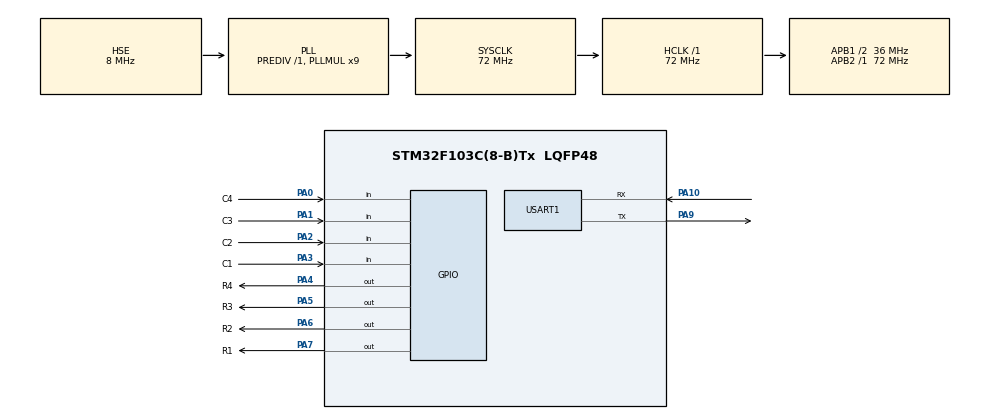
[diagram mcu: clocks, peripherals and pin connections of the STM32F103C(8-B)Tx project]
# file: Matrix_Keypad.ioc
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Mcu.Family=STM32F1
Mcu.Name=STM32F103C(8-B)Tx
Mcu.Package=LQFP48
NVIC.PriorityGroup=NVIC_PRIORITYGROUP_4
PA0-WKUP.GPIO_Label=C4
PA0-WKUP.GPIO_PuPd=GPIO_PULLUP
PA0-WKUP.Signal=GPIO_Input
PA1.GPIO_Label=C3
PA1.GPIO_PuPd=GPIO_PULLUP
PA1.Signal=GPIO_Input
PA10.Mode=Asynchronous
PA10.Signal=USART1_RX
PA13.Mode=Serial_Wire
PA13.Signal=SYS_JTMS-SWDIO
PA14.Mode=Serial_Wire
PA14.Signal=SYS_JTCK-SWCLK
PA2.GPIO_Label=C2
PA2.GPIO_PuPd=GPIO_PULLUP
PA2.Signal=GPIO_Input
PA3.GPIO_Label=C1
PA3.GPIO_PuPd=GPIO_PULLUP
PA3.Signal=GPIO_Input
PA4.GPIO_Label=R4
PA4.Signal=GPIO_Output
PA5.GPIO_Label=R3
PA5.Signal=GPIO_Output
PA6.GPIO_Label=R2
PA6.Signal=GPIO_Output
PA7.GPIO_Label=R1
PA7.Signal=GPIO_Output
PA9.Mode=Asynchronous
PA9.Signal=USART1_TX
PD0-OSC_IN.Mode=HSE-External-Oscillator
PD0-OSC_IN.Signal=RCC_OSC_IN
PD1-OSC_OUT.Mode=HSE-External-Oscillator
PD1-OSC_OUT.Signal=RCC_OSC_OUT
ProjectManager.HeapSize=0x200
ProjectManager.StackSize=0x400
ProjectManager.TargetToolchain=STM32CubeIDE
RCC.AHBFreq_Value=72000000
RCC.APB1CLKDivider=RCC_HCLK_DIV2
RCC.APB1Freq_Value=36000000
RCC.APB1TimFreq_Value=72000000
RCC.APB2Freq_Value=72000000
RCC.APB2TimFreq_Value=72000000
RCC.HCLKFreq_Value=72000000
RCC.PLLMUL=RCC_PLL_MUL9
RCC.PLLSourceVirtual=RCC_PLLSOURCE_HSE
RCC.SYSCLKFreq_VALUE=72000000
RCC.SYSCLKSource=RCC_SYSCLKSOURCE_PLLCLK
RCC.USBFreq_Value=72000000
USART1.VirtualMode=VM_ASYNC
board=custom

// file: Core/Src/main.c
/* USER CODE BEGIN Header */
/**
  ******************************************************************************
  * @file           : main.c
  * @brief          : Controlador de teclado matricial 4x4 con salida UART
  ******************************************************************************
  * @description
  * Este programa implementa un escáner de teclado matricial 4x4 para microcontroladores STM32.
  * Características:
  * - Antirrebote de hardware con retardo configurable
  * - Detección de pulsaciones de teclas con prevención de repetición
  * - Salida UART para la pantalla del terminal
  * - Borrado de la pantalla del terminal entre pulsaciones de teclas
  *
  * Configuración de hardware:
  * - Filas (R1-R4): Pines de salida configurados como push-pull
  * - Columnas (C1-C4): Pines de entrada con resistencias pull-up
  * - UART1: 115200 baudios, configuración 8N1
  *
  * Keypad Layout:
  *     C1   C2   C3   C4
  * R1  1    2    3    A
  * R2  4    5    6    B
  * R3  7    8    9    C
  * R4  *    0    #    D
  * @attention
  *
  * Copyright (c) 2025 STMicroelectronics.
  * All rights reserved.
  *
  * This software is licensed under terms that can be found in the LICENSE file
  * in the root directory of this software component.
  * If no LICENSE file comes with this software, it is provided AS-IS.
  *
  ******************************************************************************
  */
/* USER CODE END Header */
#include "main.h"

#include "stdio.h"
#include "string.h"
/* USER CODE END Includes */

/* USER CODE BEGIN PD */

// Configuración del tiempo de debounce (en milisegundos)
#define DEBOUNCE_TIME       50      // Tiempo mínimo entre lecturas de teclas
#define KEY_REPEAT_TIME     200     // Tiempo antes de permitir la repetición de la misma tecla
#define KEY_RELEASE_TIME    500     // Tiempo de espera antes de borrar la última tecla

/* USER CODE END PD */

UART_HandleTypeDef huart1;

/* USER CODE BEGIN PV */
// Variables de seguimiento del estado del teclado
static uint32_t lastKeyTime = 0;  // Marca de tiempo de la última pulsación de tecla válida
static char lastKey = 0;          // Última tecla presionada
static uint8_t keyReleased = 1;   // Bandera para rastrear si se soltó la tecla

// Variables de búfer para la transmisión UART
char pressedKey;      // Tecla actual
char keyPressed;      // Valor de tecla para ser transmitida
char buffer[10];      // Búfer para formateo de sprintf

// Secuencias de escape ANSI para control del terminal
//uint8_t cls[] = "\e[1;1H\e[2J";   // Mueve el cursos a (1,1) y limpia la pantalla
uint8_t clearLine[] = "\r\033[K";        // Retorno de carro + borrar hasta el final de la línea
uint8_t homeCursor[] = "\r";             // Solo retorno de carro (vuelve al inicio de línea)
uint8_t showPrompt[] = "KEY = ";         // Prompt fijo
/* USER CODE END PV */

void SystemClock_Config(void);
static void MX_GPIO_Init(void);
static void MX_USART1_UART_Init(void);
/* USER CODE BEGIN PFP */

/**
 * @brief Escanea el teclado de matriz 4x4 y devuelve la tecla presionada
 * @retval char: carácter ASCII de la tecla presionada, o 0 si no se presionó ninguna tecla
 */
char Read_Keypad(void);
/* USER CODE END PFP */

int main(void)
{

  /* MCU Configuration--------------------------------------------------------*/

  /* Reset of all peripherals, Initializes the Flash interface and the Systick. */
  HAL_Init();

  /* Configure the system clock */
  SystemClock_Config();

  /* Initialize all configured peripherals */
  MX_GPIO_Init();
  MX_USART1_UART_Init();
  /* USER CODE BEGIN 2 */

  // Enviar prompt inicial
  HAL_UART_Transmit(&huart1, (uint8_t*)showPrompt, strlen(showPrompt), 1000);

  /* USER CODE END 2 */

  /* Infinite loop */
  /* USER CODE BEGIN WHILE */
  while (1)
  {
    // Escanea la matriz del teclado para detectar pulsaciones de teclas
	keyPressed = Read_Keypad();

    // Transmitir solo si se detectó una tecla válida (retorno distinto de cero)
    if(keyPressed != 0)
    {
    	// Borrar la línea actual y mostrar la nueva tecla
		HAL_UART_Transmit(&huart1, clearLine, strlen((char*)clearLine), 1000);

		// Mostrar el prompt con la tecla presionada
		sprintf(buffer, "KEY = %c", keyPressed);

		// Limpiar la pantalla del terminal usando la secuencia de escape ANSI
		HAL_UART_Transmit(&huart1, (uint8_t*)buffer, strlen(buffer), 1000);
    }else
    {
    	// Cuando no hay tecla, mantener solo el prompt visible
		// Esto se hace automáticamente ya que no borramos la pantalla completa
		// Solo actualizamos si es necesario mantener consistencia
    	static uint32_t lastNoKeyTime = 0;
		uint32_t currentTime = HAL_GetTick();

		// Actualizar el prompt vacío periódicamente (cada 2 segundos) para mantenerlo visible
		if ((currentTime - lastNoKeyTime) > 2000)
		{
			HAL_UART_Transmit(&huart1, homeCursor, strlen((char*)homeCursor), 1000);
			HAL_UART_Transmit(&huart1, showPrompt, strlen((char*)showPrompt), 1000);
			lastNoKeyTime = currentTime;
		}
    }

    // Pequeña pausa para evitar uso excesivo de CPU
	HAL_Delay(10);
    /* USER CODE END WHILE */

  }
}

void SystemClock_Config(void)
{
  RCC_OscInitTypeDef RCC_OscInitStruct = {0};
  RCC_ClkInitTypeDef RCC_ClkInitStruct = {0};

  /** Initializes the RCC Oscillators according to the specified parameters
  * in the RCC_OscInitTypeDef structure.
  */
  RCC_OscInitStruct.OscillatorType = RCC_OSCILLATORTYPE_HSE;
  RCC_OscInitStruct.HSEState = RCC_HSE_ON;
  RCC_OscInitStruct.HSEPredivValue = RCC_HSE_PREDIV_DIV1;
  RCC_OscInitStruct.HSIState = RCC_HSI_ON;
  RCC_OscInitStruct.PLL.PLLState = RCC_PLL_ON;
  RCC_OscInitStruct.PLL.PLLSource = RCC_PLLSOURCE_HSE;
  RCC_OscInitStruct.PLL.PLLMUL = RCC_PLL_MUL9;
  if (HAL_RCC_OscConfig(&RCC_OscInitStruct) != HAL_OK)
  {
    Error_Handler();
  }

  /** Initializes the CPU, AHB and APB buses clocks
  */
  RCC_ClkInitStruct.ClockType = RCC_CLOCKTYPE_HCLK|RCC_CLOCKTYPE_SYSCLK
                              |RCC_CLOCKTYPE_PCLK1|RCC_CLOCKTYPE_PCLK2;
  RCC_ClkInitStruct.SYSCLKSource = RCC_SYSCLKSOURCE_PLLCLK;
  RCC_ClkInitStruct.AHBCLKDivider = RCC_SYSCLK_DIV1;
  RCC_ClkInitStruct.APB1CLKDivider = RCC_HCLK_DIV2;
  RCC_ClkInitStruct.APB2CLKDivider = RCC_HCLK_DIV1;

  if (HAL_RCC_ClockConfig(&RCC_ClkInitStruct, FLASH_LATENCY_2) != HAL_OK)
  {
    Error_Handler();
  }
}

static void MX_USART1_UART_Init(void)
{

  huart1.Instance = USART1;
  huart1.Init.BaudRate = 115200;
  huart1.Init.WordLength = UART_WORDLENGTH_8B;
  huart1.Init.StopBits = UART_STOPBITS_1;
  huart1.Init.Parity = UART_PARITY_NONE;
  huart1.Init.Mode = UART_MODE_TX_RX;
  huart1.Init.HwFlowCtl = UART_HWCONTROL_NONE;
  huart1.Init.OverSampling = UART_OVERSAMPLING_16;
  if (HAL_UART_Init(&huart1) != HAL_OK)
  {
    Error_Handler();
  }

}

static void MX_GPIO_Init(void)
{
  GPIO_InitTypeDef GPIO_InitStruct = {0};

  /* GPIO Ports Clock Enable */
  __HAL_RCC_GPIOD_CLK_ENABLE();
  __HAL_RCC_GPIOA_CLK_ENABLE();

  /*Configure GPIO pin Output Level */
  HAL_GPIO_WritePin(GPIOA, R4_Pin|R3_Pin|R2_Pin|R1_Pin, GPIO_PIN_RESET);

  /*Configure GPIO pins : C4_Pin C3_Pin C2_Pin C1_Pin */
  GPIO_InitStruct.Pin = C4_Pin|C3_Pin|C2_Pin|C1_Pin;
  GPIO_InitStruct.Mode = GPIO_MODE_INPUT;
  GPIO_InitStruct.Pull = GPIO_PULLUP;
  HAL_GPIO_Init(GPIOA, &GPIO_InitStruct);

  /*Configure GPIO pins : R4_Pin R3_Pin R2_Pin R1_Pin */
  GPIO_InitStruct.Pin = R4_Pin|R3_Pin|R2_Pin|R1_Pin;
  GPIO_InitStruct.Mode = GPIO_MODE_OUTPUT_PP;
  GPIO_InitStruct.Pull = GPIO_NOPULL;
  GPIO_InitStruct.Speed = GPIO_SPEED_FREQ_LOW;
  HAL_GPIO_Init(GPIOA, &GPIO_InitStruct);

}

/* USER CODE BEGIN 4 */
/**
 * @brief Escanea el teclado matricial 4x4 para detectar pulsaciones de teclas
 * @details Algoritmo de escaneo
 *          1. Configura todas las filas en HIGH
 *          2. Para cada fila
 *            a) Configura la fila actual en LOW
 *            b) Lee tolas las columnas
 *            c) Si la columna es LOW, la tecla presionada es [fila][columna]
 *            d) Restaura las filas en HIGH
 *          3. Implementa la eliminación de rebotes y la prevención de repetición
 *
 * @note El escaneo del teclado funciona así:
 *          - Poner una fila en LOW a la vez
 *          - Leer los pines de columna (con pull-ups)
 *          - Cuando se pulsa una tecla, conecta la fila con la columna
 *          - El LOW de la fila se propaga a la columna
 *          - Esto crea una lectura LOW en el pin de la columna
 *
 * @retval char: carácter ASCII de la tecla presionada, o 0 si no se presionó ninguna tecla
 */
char Read_Keypad(void)
{
  // Keypad character mapping
	char keyMap[4][4] =
	{
		{'1', '2', '3', 'A'}, // Fila 1
		{'4', '5', '6', 'B'}, // Fila 2
		{'7', '8', '9', 'C'}, // FIla 3
		{'*', '0', '#', 'D'}  // Fila 4
	};

  // Definiciones de puerto GPIO para cada fila
	GPIO_TypeDef* rowPorts[4] = {
    R1_GPIO_Port,
    R2_GPIO_Port,
    R3_GPIO_Port,
    R4_GPIO_Port
  };

  // Definiciones de pines GPIO paracada fila
	uint16_t rowPins[4] = {
    R1_Pin,
    R2_Pin,
    R3_Pin,
    R4_Pin
  };

  // Definiciones de puerto GPIO para cada columna
	GPIO_TypeDef* colPorts[4] ={
    C1_GPIO_Port,
    C2_GPIO_Port,
    C3_GPIO_Port,
    C4_GPIO_Port
  };

  // Definiciones de pines GPIO paracada columna
	uint16_t colPins[4] = {
    C1_Pin,
    C2_Pin,
    C3_Pin,
    C4_Pin
  };

	// Obtener la lectura del tiempo transcurrido
	uint32_t currentTime = HAL_GetTick();

  // COMPROBACIÓN DE REBOTES: Evitar lecturas demasiado frecuentes
  // Si no ha transcurrido suficiente tiempo desde la última lectura, volver inmediatamente
	if ((currentTime - lastKeyTime) < DEBOUNCE_TIME)
	{
		return 0;  // No leer si no ha pasado el tiempo de debounce
	}

  // INICIALIZACIÓN: Configura todos las filas en HIGH antes de escanear
  // Esto asegura empezar en un estadi conocido
	for(int i = 0; i < 4; i++)
	{
		HAL_GPIO_WritePin(rowPorts[i], rowPins[i], GPIO_PIN_SET);
	}

	// CICLO DE ESCANEO PRINCIPAL: Verifica cada fila secuencialmente
	for(int row = 0; row < 4; row++)
	{
		// PASO 1: Activar fila actual (LOW)
		HAL_GPIO_WritePin(rowPorts[row], rowPins[row], GPIO_PIN_RESET);

		// PASO 2: Pequeño delay para permitir que la señal se estabilice
    // Esto evita lecturas falsas debido a transitorios de conmutación GPIO
		HAL_Delay(1);

    // PASO 3: Lee todas las columnas por fila
		for(int col = 0; col < 4; col++)
		{
      // Comprobar si la columna está en LOW (la tecla presionada conecta la fila a la columna)
			if(HAL_GPIO_ReadPin(colPorts[col], colPins[col]) == GPIO_PIN_RESET)
			{
        // Tecla detectada en la posición [fila][columna]
				pressedKey = keyMap[row][col];

        // LÓGICA DE PREVENCIÓN DE REPETICIÓN DE TECLAS:
        // Permitir la misma pulsación de tecla solo si:
        //    1. Es una tecla diferente a la anterior, O
        //    2. Ha transcurrido suficiente tiempo desde la última pulsación de la misma tecla
				if(pressedKey != lastKey || (currentTime - lastKey) > KEY_REPEAT_TIME)
				{
          // Actualizar el estado de las variables
					lastKey = pressedKey;
					lastKeyTime = currentTime;
          keyReleased = 0;  // Marcar la tecla como presionada actualmente

					// Restaurar todas las filas a HIGH
					for(int i = 0; i < 4; i++)
					{
						HAL_GPIO_WritePin(rowPorts[i], rowPins[i], GPIO_PIN_SET);
					}

					return pressedKey;  // Retorna la tecla presionada
				}
			}
		}

		// PASO 4: Restaurar fila actual a HIGH después de comprobar todas las columnas
		HAL_GPIO_WritePin(rowPorts[row], rowPins[row], GPIO_PIN_SET);
	}

  // DETECCIÓN DE TECLA LIBERADA:
  // Si no se pulsa ninguna tecla y ha transcurrido suficiente tiempo, se borra la última tecla.
	// Esto permite volver a pulsar la misma tecla después de soltarla.
	if((currentTime - lastKeyTime) > KEY_RELEASE_TIME)
	{
		lastKey = 0;
    keyReleased = 1;
	}

	return 0;	// No hay tecla presionada
}
/* USER CODE END 4 */

void Error_Handler(void)
{
  __disable_irq();
  while (1)
  {
  }
}
